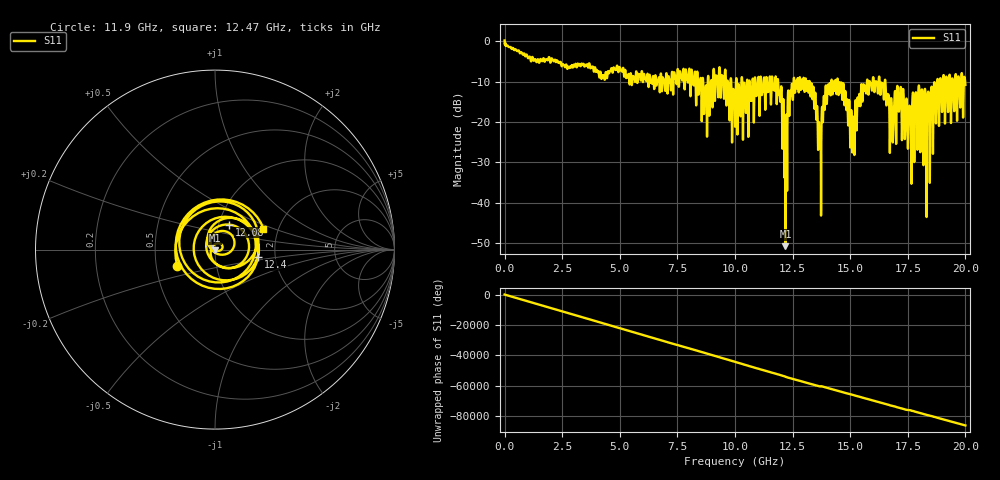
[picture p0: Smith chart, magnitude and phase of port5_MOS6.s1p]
! MS46122B
! 2250307/22442219
! 6/18/2025 1:28:20 PM
! C:\USERS\SPARKY\DOCUMENTS\VNA_DATA\JUNE18_2025\295K\PORT5_MOS6.S1P
! CHANNEL.1
! TR.MEASUREMENT
! RAW.DATA
# GHZ S RI R 50.0
! FREQ.GHZ  S11RE  S11IM
!; PortSelection: Port_1
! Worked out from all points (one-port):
!   10001 points, 1 MHz to 20 GHz, reference 50 ohm
!   lowest |S11| = -50.8 dB at 12.19 GHz (marker M1), VSWR 1.01, Z = 50 - j0.286 ohm
!   |S11| at or under -10 dB: 13.24 GHz to 14.18 GHz (940.4 MHz wide, 6.86 % of centre); 14.46 GHz to 15.73 GHz (1.263 GHz wide, 8.37 % of centre); 16.53 GHz to 18.78 GHz (2.248 GHz wide, 12.7 % of centre) (the widest 3 of 81)
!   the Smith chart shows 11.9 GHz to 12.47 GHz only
!   S11 on the Smith chart (normalised r, x): 11.9 GHz: 0.64, -0.12; 12.08 GHz: 1.12, +0.32; 12.4 GHz: 1.62, -0.14; 12.47 GHz: 1.67, +0.43
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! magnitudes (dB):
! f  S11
! 1 MHz  0.2
! 2.501 GHz  -5.9
! 5.001 GHz  -6.4
! 7.501 GHz  -7.4
! 9.397 GHz  -11.1
! 10 GHz  -19.7
! 11.9 GHz  -12.8
! 12.08 GHz  -15.9
! 12.19 GHz  -50.8
! 12.4 GHz  -12.3
! 12.47 GHz  -10.6
! 12.5 GHz  -13.6
! 13.32 GHz  -10.4
! 13.67 GHz  -24.2
! 13.94 GHz  -11.0
! 14.27 GHz  -10.0
! 14.7 GHz  -10.4
! 15 GHz  -25.6
! 15.92 GHz  -11.2
! 16.45 GHz  -12.8
! 16.8 GHz  -15.1
! 17.12 GHz  -17.2
! 17.5 GHz  -25.3
! 17.58 GHz  -16.0
! 18.05 GHz  -26.4
! 18.39 GHz  -12.5
! 18.85 GHz  -21.0
! 20 GHz  -10.8
